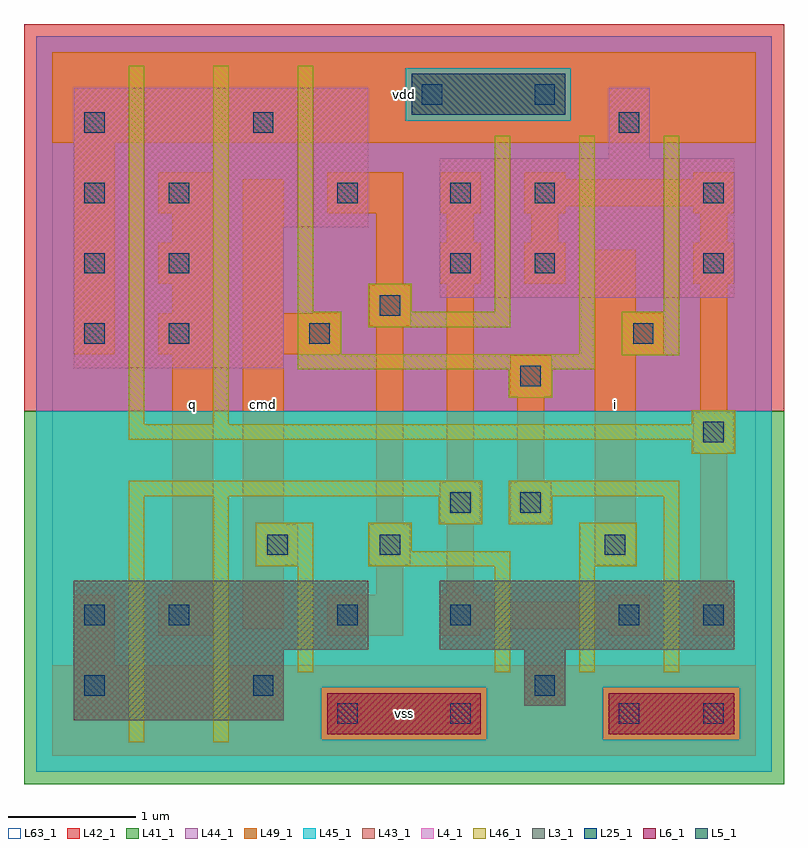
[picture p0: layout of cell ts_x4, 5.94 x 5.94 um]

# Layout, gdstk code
import gdstk
lib = gdstk.Library(unit=1e-6, precision=1e-09)
def R(c, l, rs):  # rectangles x0, y0, x1, y1
    for r in rs: c.add(gdstk.rectangle(r[:2], r[2:], *l))
def A(c, l, x, y, w, h, nx, ny, dx, dy):  # array of equal rectangles
    R(c, l, [(x+i*dx, y+j*dy, x+i*dx+w, y+j*dy+h) for i in range(nx) for j in range(ny)])
L3_1 = (3, 1)
L4_1 = (4, 1)
L5_1 = (5, 1)
L6_1 = (6, 1)
L25_1 = (25, 1)
L41_1 = (41, 1)
L42_1 = (42, 1)
L43_1 = (43, 1)
L44_1 = (44, 1)
L45_1 = (45, 1)
L46_1 = (46, 1)
L49_1 = (49, 1)
L63_1 = (63, 1)

ts_x4 = lib.new_cell('ts_x4')
R(ts_x4, L3_1, [(0.17,0.28,1.81,0.83), (3.69,0.39,4.01,0.83), (0.17,0.83,2.47,1.37), (3.03,0.83,5.33,1.37)])
R(ts_x4, L4_1, [(0.17,3.03,1.81,4.13), (3.03,3.58,5.33,4.67), (0.17,4.13,2.47,5.22), (4.35,4.67,4.67,5.22)])
R(ts_x4, L5_1, [(2.81,5.01,4.01,5.33)])
R(ts_x4, L6_1, [(2.15,0.17,3.35,0.49), (4.35,0.17,5.33,0.49)])
A(ts_x4, L25_1, 0.25, 3.22, 0.16, 0.16, 1, 4, 0, 0.55)
A(ts_x4, L25_1, 0.91, 3.22, 0.16, 0.16, 1, 3, 0, 0.55)
R(ts_x4, L25_1, [(2.23,0.25,2.39,0.41), (3.11,0.25,3.27,0.41), (4.43,0.25,4.59,0.41), (5.09,0.25,5.25,0.41), (0.25,0.47,0.41,0.63), (1.57,0.47,1.73,0.63), (3.77,0.47,3.93,0.63), (0.25,1.02,0.41,1.18), (0.91,1.02,1.07,1.18), (2.23,1.02,2.39,1.18), (3.11,1.02,3.27,1.18), (4.43,1.02,4.59,1.18), (5.09,1.02,5.25,1.18), (1.68,1.57,1.84,1.73), (2.56,1.57,2.72,1.73), (4.32,1.57,4.48,1.73), (3.11,1.9,3.27,2.06), (3.66,1.9,3.82,2.06), (5.09,2.45,5.25,2.61), (3.66,2.89,3.82,3.05), (2.01,3.22,2.17,3.38), (4.54,3.22,4.7,3.38), (2.56,3.44,2.72,3.6), (3.11,3.77,3.27,3.93), (3.77,3.77,3.93,3.93), (5.09,3.77,5.25,3.93), (2.23,4.32,2.39,4.48), (3.11,4.32,3.27,4.48), (3.77,4.32,3.93,4.48), (5.09,4.32,5.25,4.48), (1.57,4.87,1.73,5.03), (4.43,4.87,4.59,5.03), (2.89,5.09,3.05,5.25), (3.77,5.09,3.93,5.25)])
R(ts_x4, L41_1, [(-0.22,-0.22,5.72,2.695)])
R(ts_x4, L42_1, [(-0.22,2.695,5.72,5.72)])
R(ts_x4, L43_1, [(2.15,0.17,3.35,0.49), (4.35,0.17,5.33,0.49), (0.17,0.28,1.81,0.83), (3.69,0.39,4.01,0.83), (0.17,0.83,2.47,1.37), (3.03,0.83,5.33,1.37), (0.17,3.03,1.81,4.13), (3.03,3.58,5.33,4.67), (0.17,4.13,2.47,5.22), (4.35,4.67,4.67,5.22), (2.81,5.01,4.01,5.33)])
R(ts_x4, L44_1, [(2.105,0.125,3.395,0.535), (4.305,0.125,5.375,0.535), (-0.125,2.695,5.625,4.965), (-0.125,4.965,2.765,5.375), (4.055,4.965,5.625,5.375), (-0.125,5.375,5.625,5.625)])
R(ts_x4, L45_1, [(-0.125,-0.125,5.625,0.125), (-0.125,0.125,2.105,0.535), (3.395,0.125,4.305,0.535), (5.375,0.125,5.625,0.535), (-0.125,0.535,5.625,2.695), (2.765,4.965,4.055,5.375)])
R(ts_x4, L46_1, [(0.6,0.105,0.72,2.03), (1.26,0.105,1.38,2.03), (1.92,0.655,2.04,1.48), (3.46,0.655,3.58,1.48), (4.12,0.655,4.24,1.48), (4.78,0.655,4.9,2.03), (1.59,1.48,2.04,1.82), (2.47,1.48,3.58,1.6), (4.12,1.48,4.57,1.82), (2.47,1.6,2.81,1.82), (3.02,1.81,3.36,2.03), (3.57,1.81,3.91,2.03), (0.6,2.03,3.36,2.15), (3.57,2.03,4.9,2.15), (5,2.36,5.34,2.47), (0.6,2.47,5.34,2.59), (0.6,2.59,0.72,5.395), (1.26,2.59,1.38,5.395), (5,2.59,5.34,2.7), (3.57,2.8,3.91,3.02), (1.92,3.02,4.24,3.14), (4.45,3.13,4.9,3.47), (1.92,3.14,2.26,3.47), (4.12,3.14,4.24,4.845), (2.47,3.35,3.58,3.47), (1.92,3.47,2.04,5.395), (2.47,3.47,2.81,3.69), (3.46,3.47,3.58,4.845), (4.78,3.47,4.9,4.845)])
A(ts_x4, L49_1, 0.83, 3.14, 0.43, 0.32, 1, 3, 0, 0.55)
R(ts_x4, L49_1, [(0,0,5.5,0.71), (0.17,0.71,0.49,1.26), (0.83,0.94,1.26,1.26), (2.15,0.94,2.745,1.26), (3.03,0.94,3.35,0.995), (4.35,0.94,4.67,0.995), (5.01,0.94,5.33,1.26), (1.49,0.995,1.81,1.49), (3.03,0.995,4.67,1.205), (3.03,1.205,3.35,1.26), (4.35,1.205,4.67,1.26), (0.94,1.26,1.26,3.14), (2.535,1.26,2.745,1.49), (3.085,1.26,3.295,1.82), (5.065,1.26,5.275,2.37), (1.49,1.49,1.92,1.81), (2.48,1.49,2.8,1.81), (4.24,1.49,4.56,3.14), (1.49,1.81,1.81,3.14), (2.535,1.81,2.745,3.36), (3.03,1.82,3.35,2.14), (3.58,1.82,3.9,2.14), (3.085,2.14,3.295,3.69), (3.635,2.14,3.845,2.81), (5.01,2.37,5.33,2.69), (5.065,2.69,5.275,3.69), (3.58,2.81,3.9,3.13), (0.17,3.14,0.49,4.79), (1.49,3.14,2.25,3.46), (4.24,3.14,4.78,3.46), (2.48,3.36,2.8,3.68), (0.94,3.46,1.26,3.69), (1.49,3.46,1.81,4.505), (4.24,3.46,4.56,3.955), (2.535,3.68,2.745,4.24), (3.03,3.69,3.35,4.01), (3.69,3.69,4.01,4.01), (5.01,3.69,5.33,4.01), (0.94,4.01,1.26,4.24), (3.085,4.01,3.295,4.24), (3.745,4.01,3.955,4.24), (5.065,4.01,5.275,4.24), (2.15,4.24,2.745,4.56), (3.03,4.24,3.35,4.56), (3.69,4.24,4.01,4.295), (5.01,4.24,5.33,4.295), (3.69,4.295,5.33,4.505), (3.69,4.505,4.01,4.56), (5.01,4.505,5.33,4.56), (0,4.79,5.5,5.5)])
R(ts_x4, L63_1, [(0,0,5.5,5.5)])
ts_x4.add(gdstk.Label('q', (1.1,2.75), layer=49, texttype=1))
ts_x4.add(gdstk.Label('q', (1.1,2.75), layer=49, texttype=1))
ts_x4.add(gdstk.Label('cmd', (1.65,2.75), layer=49, texttype=1))
ts_x4.add(gdstk.Label('cmd', (1.65,2.75), layer=49, texttype=1))
ts_x4.add(gdstk.Label('vss', (2.75,0.33), layer=49, texttype=1))
ts_x4.add(gdstk.Label('vss', (2.75,0.33), layer=49, texttype=1))
ts_x4.add(gdstk.Label('vdd', (2.75,5.17), layer=49, texttype=1))
ts_x4.add(gdstk.Label('vdd', (2.75,5.17), layer=49, texttype=1))
ts_x4.add(gdstk.Label('i', (4.4,2.75), layer=49, texttype=1))
ts_x4.add(gdstk.Label('i', (4.4,2.75), layer=49, texttype=1))

lib.write_gds('ts_x4.gds')
